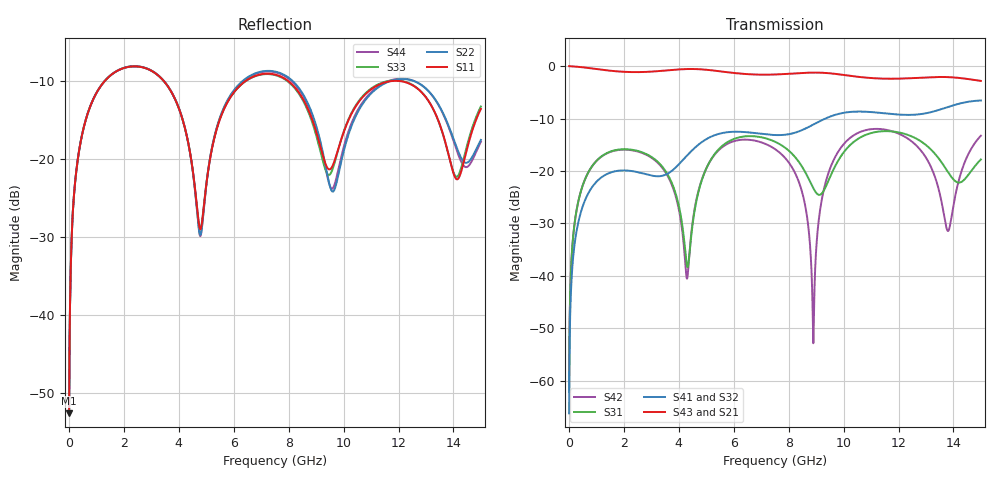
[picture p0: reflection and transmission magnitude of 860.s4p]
! Created with skrf 1.8.0 (http://scikit-rf.org).
# GHz S RI R 50.0
!freq ReS11 ImS11 ReS12 ImS12 ReS13 ImS13
! ReS14 ImS14
! ReS21 ImS21 ReS22 ImS22 ReS23 ImS23
! ReS24 ImS24
! ReS31 ImS31 ReS32 ImS32 ReS33 ImS33
! ReS34 ImS34
! ReS41 ImS41 ReS42 ImS42 ReS43 ImS43
! ReS44 ImS44
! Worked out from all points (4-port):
!   2499 points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, 5 MHz to 15 GHz, reference 50 ohm
!   strongest paths, dB at 5 MHz, 3.476 GHz, 7.19 GHz, 11.1 GHz, 15 GHz:
!     S43: 0.0, -0.9, -1.6, -2.3, -2.8
!     S21: 0.0, -0.9, -1.6, -2.3, -2.8
!     S41: -66.2, -20.8, -13.0, -8.8, -6.6
!     S32: -66.2, -20.8, -13.1, -8.8, -6.6
!     S31: -62.2, -19.7, -13.8, -12.6, -17.8
!     S42: -62.2, -20.0, -14.9, -12.0, -13.3
!   lowest |S11| = -52.6 dB at 5 MHz (marker M1), VSWR 1.00, Z = 50.2 + j0.142 ohm
!   |S11| at or under -10 dB: start of sweep to 1.313 GHz; 3.442 GHz to 6.448 GHz (3.006 GHz wide, 60.8 % of centre); 7.968 GHz to end of sweep
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0.005  0.00187 0.00142  0.9981 -0.00365  9.6e-05 0.000774  -9.3e-05 -0.000481
       0.9981 -0.00365  0.00187 0.00142  -9.3e-05 -0.000481  9.59e-05 0.000774
       9.6e-05 0.000774  -9.3e-05 -0.000481  0.00187 0.00142  0.9981 -0.00365
       -9.3e-05 -0.000481  9.59e-05 0.000774  0.9981 -0.00365  0.00187 0.00142
1.419341  0.2829 0.1711  0.5185 -0.7456  0.1382 0.0576  -0.0945 -0.000929
          0.5185 -0.7456  0.2838 0.1704  -0.0945 -0.000989  0.1356 0.0614
          0.1382 0.0576  -0.0945 -0.000989  0.2828 0.1711  0.5185 -0.7456
          -0.0945 -0.000929  0.1356 0.0614  0.5185 -0.7456  0.2838 0.1704
4.845769  0.0371 0.0129  -0.9296 -0.0204  0.0131 0.082  0.00268 0.1892
          -0.9296 -0.0204  0.0345 0.0138  0.00181 0.1891  0.00779 0.0838
          0.0131 0.082  0.00181 0.1891  0.0375 0.0131  -0.9296 -0.0207
          0.00268 0.1892  0.00779 0.0838  -0.9296 -0.0207  0.0339 0.0139
7.834514  0.3137 -0.0949  0.2027 0.8132  0.1022 -0.135  0.1939 -0.1062
          0.2027 0.8132  0.3237 -0.1184  0.1941 -0.1034  0.1146 -0.0739
          0.1022 -0.135  0.1941 -0.1034  0.3098 -0.0969  0.2027 0.8146
          0.1939 -0.1062  0.1146 -0.0739  0.2027 0.8146  0.3206 -0.1142
8.897457  0.13 -0.1089  0.6989 0.5114  -0.0505 -0.0465  0.1547 -0.2297
          0.6989 0.5114  0.12 -0.1415  0.158 -0.2272  -0.00217 -0.000702
          -0.0505 -0.0465  0.158 -0.2272  0.1229 -0.1068  0.7001 0.5117
          0.1547 -0.2297  -0.00217 -0.000702  0.7001 0.5117  0.1199 -0.1343
10.12922  0.1432 0.0893  0.7987 -0.1636  0.0775 0.1457  -0.1103 -0.3456
          0.7987 -0.1636  0.1082 0.0795  -0.1059 -0.3474  0.1207 0.1533
          0.0775 0.1457  -0.1059 -0.3474  0.1402 0.0976  0.7981 -0.1635
          -0.1103 -0.3456  0.1207 0.1533  0.7981 -0.1635  0.1135 0.0839
15  0.1614 0.1324  -0.7162 0.0983  0.0341 0.1243  0.1074 0.4575
    -0.7162 0.0983  0.1259 0.0404  0.1006 0.4574  0.1876 0.1087
    0.0341 0.1243  0.1006 0.4574  0.1661 0.1384  -0.7162 0.0937
    0.1074 0.4575  0.1876 0.1087  -0.7162 0.0937  0.1205 0.0452
